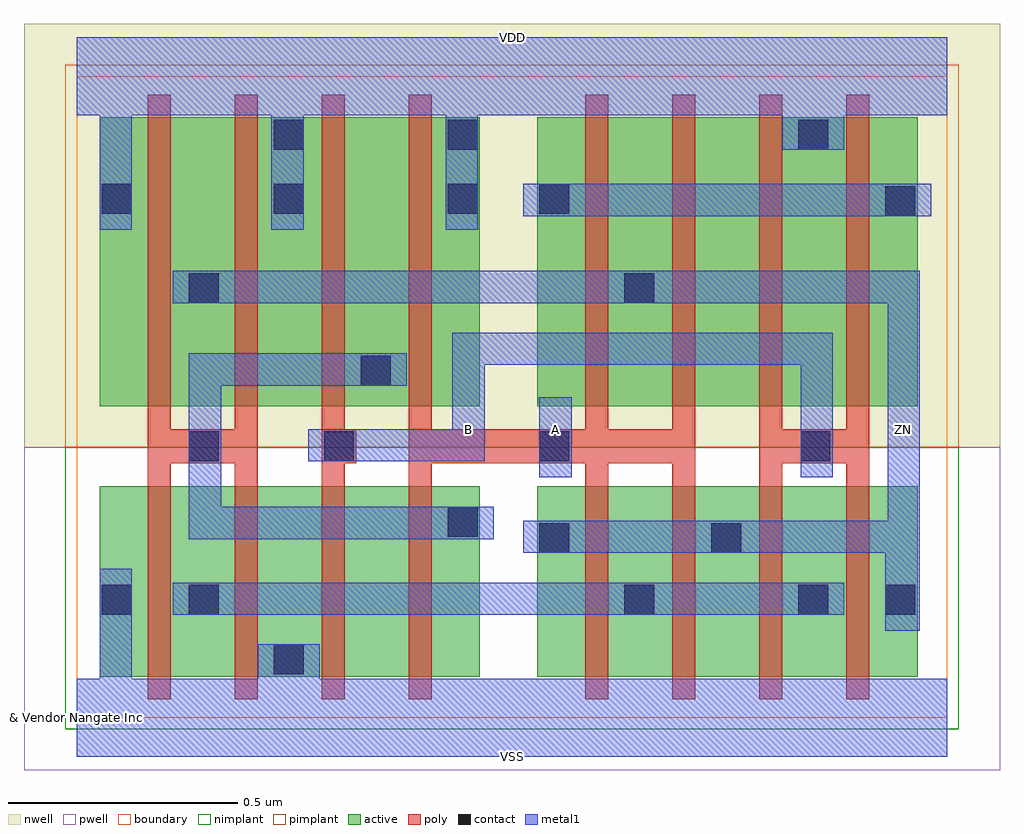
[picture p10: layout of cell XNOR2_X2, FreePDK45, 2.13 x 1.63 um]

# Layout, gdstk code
import gdstk
lib = gdstk.Library(unit=1e-6, precision=1e-10)
def R(c, l, rs):  # rectangles x0, y0, x1, y1
    for r in rs: c.add(gdstk.rectangle(r[:2], r[2:], *l))
def P(c, l, *ps):  # polygons
    for p in ps: c.add(gdstk.Polygon(p, *l))
active = (1, 0)
pwell = (2, 0)
nwell = (3, 0)
nimplant = (4, 0)
pimplant = (5, 0)
poly = (9, 0)
contact = (10, 0)
metal1 = (11, 0)
boundary = (235, 0)

xnor2_x2 = lib.new_cell('XNOR2_X2')
R(xnor2_x2, active, [(0.05,0.09,0.88,0.505), (1.005,0.09,1.835,0.505), (0.05,0.68,0.88,1.31), (1.005,0.68,1.835,1.31)])
R(xnor2_x2, pwell, [(-0.115,-0.115,2.015,0.59)])
R(xnor2_x2, nwell, [(-0.115,0.59,2.015,1.515)])
R(xnor2_x2, nimplant, [(-0.025,-0.025,1.925,0.59)])
R(xnor2_x2, pimplant, [(-0.025,0.59,1.925,1.425)])
P(xnor2_x2, poly, [(0.155,0.04),(0.155,1.36),(0.205,1.36),(0.205,0.63),(0.345,0.63),(0.345,1.36),(0.395,1.36),(0.395,0.04),(0.345,0.04),(0.345,0.555),(0.205,0.555),(0.205,0.04)],
  [(0.535,0.04),(0.535,1.36),(0.585,1.36),(0.585,0.63),(0.61,0.63),(0.61,0.555),(0.585,0.555),(0.585,0.04)],
  [(0.725,0.04),(0.725,1.36),(0.775,1.36),(0.775,0.63),(1.11,0.63),(1.11,1.36),(1.16,1.36),(1.16,0.63),(1.3,0.63),(1.3,1.36),(1.35,1.36),(1.35,0.04),(1.3,0.04),(1.3,0.555),(1.16,0.555),(1.16,0.04),(1.11,0.04),(1.11,0.555),(0.775,0.555),(0.775,0.04)],
  [(1.49,0.04),(1.49,1.36),(1.54,1.36),(1.54,0.63),(1.68,0.63),(1.68,1.36),(1.73,1.36),(1.73,0.04),(1.68,0.04),(1.68,0.555),(1.54,0.555),(1.54,0.04)])
R(xnor2_x2, contact, [(0.43,0.095,0.495,0.16), (0.055,0.225,0.12,0.29), (0.245,0.225,0.31,0.29), (1.195,0.225,1.26,0.29), (1.575,0.225,1.64,0.29), (1.765,0.225,1.83,0.29), (1.01,0.36,1.075,0.425), (1.385,0.36,1.45,0.425), (0.81,0.395,0.875,0.46), (0.245,0.56,0.31,0.625), (0.54,0.56,0.605,0.625), (1.01,0.56,1.075,0.625), (1.58,0.56,1.645,0.625), (0.62,0.725,0.685,0.79), (0.245,0.905,0.31,0.97), (1.195,0.905,1.26,0.97), (1.765,1.095,1.83,1.16), (0.055,1.1,0.12,1.165), (0.43,1.1,0.495,1.165), (0.81,1.1,0.875,1.165), (1.01,1.1,1.075,1.165), (0.43,1.24,0.495,1.305), (0.81,1.24,0.875,1.305), (1.575,1.24,1.64,1.305)])
R(xnor2_x2, metal1, [(0.21,0.225,1.675,0.295), (1.01,0.525,1.08,0.7), (0.975,1.095,1.865,1.165)])
P(xnor2_x2, metal1, [(0.245,0.39),(0.245,0.795),(0.72,0.795),(0.72,0.725),(0.315,0.725),(0.315,0.46),(0.91,0.46),(0.91,0.39)],
  [(1.58,0.525),(1.58,0.77),(0.89,0.77),(0.89,0.56),(0.505,0.56),(0.505,0.63),(0.82,0.63),(0.82,0.84),(1.65,0.84),(1.65,0.525)],
  [(1.765,0.19),(1.765,0.36),(0.975,0.36),(0.975,0.43),(1.77,0.43),(1.77,0.905),(0.21,0.905),(0.21,0.975),(1.84,0.975),(1.84,0.19)],
  [(0,-0.085),(0,0.085),(0.05,0.085),(0.05,0.325),(0.12,0.325),(0.12,0.085),(0.395,0.085),(0.395,0.16),(0.53,0.16),(0.53,0.085),(1.9,0.085),(1.9,-0.085)],
  [(0.05,1.065),(0.05,1.315),(0,1.315),(0,1.485),(1.9,1.485),(1.9,1.315),(1.675,1.315),(1.675,1.24),(1.54,1.24),(1.54,1.315),(0.875,1.315),(0.875,1.065),(0.805,1.065),(0.805,1.315),(0.495,1.315),(0.495,1.065),(0.425,1.065),(0.425,1.315),(0.12,1.315),(0.12,1.065)])
R(xnor2_x2, boundary, [(0,0,1.9,1.4)])
xnor2_x2.add(gdstk.Label('A', (1.045,0.63), layer=11, texttype=0))
xnor2_x2.add(gdstk.Label('B', (0.855,0.63), layer=11, texttype=0))
xnor2_x2.add(gdstk.Label('VDD', (0.95,1.485), layer=11, texttype=0))
xnor2_x2.add(gdstk.Label('VSS', (0.95,-0.085), layer=11, texttype=0))
xnor2_x2.add(gdstk.Label('ZN', (1.805,0.63), layer=11, texttype=0))
xnor2_x2.add(gdstk.Label('& Vendor Nangate Inc', (0,0), layer=63, texttype=63))
xnor2_x2.add(gdstk.Label('& Product Open Cell Library', (0,0), layer=63, texttype=63))
xnor2_x2.add(gdstk.Label('& Version 2010_12', (0,0), layer=63, texttype=63))
xnor2_x2.add(gdstk.Label('& Instance XNOR2_X2', (0,0), layer=63, texttype=63))

lib.write_gds('XNOR2_X2.gds')
